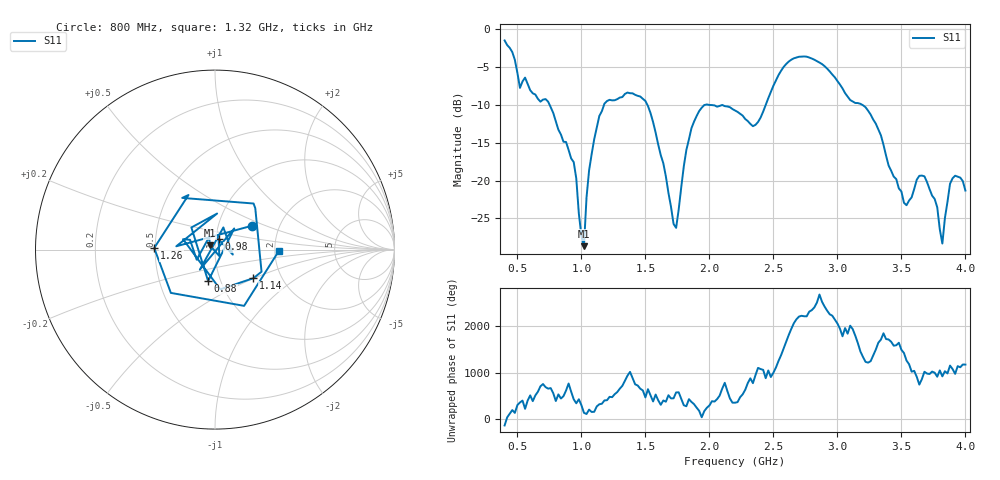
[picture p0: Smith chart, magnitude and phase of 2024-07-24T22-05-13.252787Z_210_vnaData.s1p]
!Created with skrf (http://scikit-rf.org).
# Hz S RI R 50.0
!freq ReS11 ImS11
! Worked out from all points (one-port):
!   181 points, 400 MHz to 4 GHz, reference 50 ohm
!   lowest |S11| = -28.7 dB at 1.02 GHz (marker M1), VSWR 1.08, Z = 47.2 + j2.24 ohm
!   |S11| at or under -10 dB: 1.515 GHz to 1.969 GHz (453.9 MHz wide, 26.1 % of centre); 1.993 GHz to 2.44 GHz (447.4 MHz wide, 20.2 % of centre); 3.193 GHz to end of sweep (the widest 3 of 4)
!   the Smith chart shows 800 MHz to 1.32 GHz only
!   S11 on the Smith chart (normalised r, x): 800 MHz: 1.45, +0.41; 880 MHz: 0.87, -0.32; 980 MHz: 1.03, +0.12; 1.14 GHz: 1.45, -0.50; 1.26 GHz: 0.49, +0.01; 1.32 GHz: 2.10, -0.04
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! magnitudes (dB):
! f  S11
! 400 MHz  -1.5
! 520 MHz  -7.8
! 800 MHz  -12.2
! 860 MHz  -14.9
! 880 MHz  -14.9
! 940 MHz  -17.6
! 980 MHz  -24.4
! 1.02 GHz  -28.7
! 1.06 GHz  -18.7
! 1.14 GHz  -11.5
! 1.26 GHz  -9.4
! 1.3 GHz  -9.0
! 1.32 GHz  -9.0
! 1.52 GHz  -10.2
! 1.72 GHz  -25.7
! 1.76 GHz  -23.8
! 1.82 GHz  -16.0
! 1.92 GHz  -10.8
! 2.2 GHz  -10.8
! 2.36 GHz  -12.7
! 2.66 GHz  -3.9
! 3.1 GHz  -9.4
! 3.26 GHz  -11.3
! 3.56 GHz  -22.6
! 3.68 GHz  -19.4
! 3.82 GHz  -28.3
! 3.88 GHz  -20.4
! 4 GHz  -21.3
